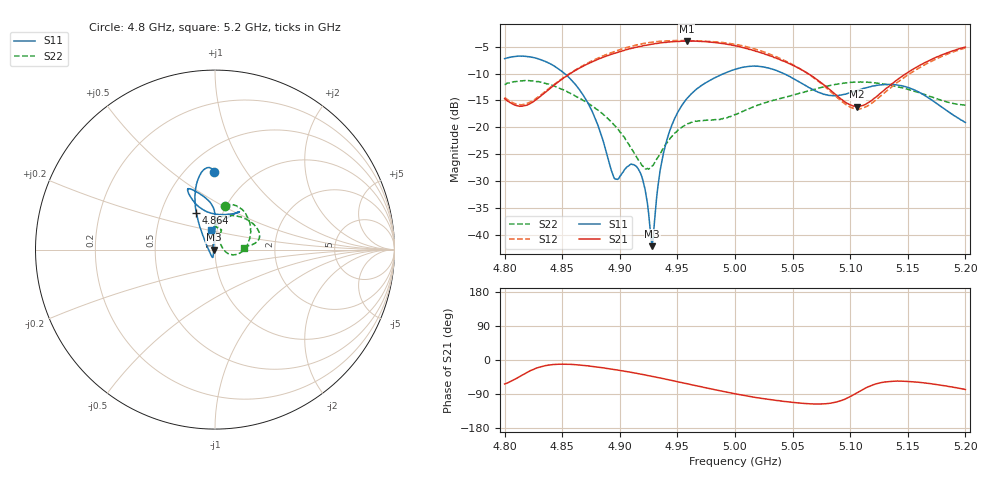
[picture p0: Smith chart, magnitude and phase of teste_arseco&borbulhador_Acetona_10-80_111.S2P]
! Network Analyzer HP8722D
! Hewlett-Packard
! Data name: Linha & Wilkinson
! Saver's name: Rodrigo Anjos
! Comments: Teste da utilização de aquisição
! continua pelo VNA HP8722D
! Time and date: 25/4/2025 16:11
!  Frequency  S11  S21  S12  S22
# HZ  S  MA R 50
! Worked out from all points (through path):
!   401 points, 4.8 GHz to 5.2 GHz, reference 50 ohm
!   highest |S21| = -3.97 dB at 4.958 GHz (marker M1); lowest = -16.1 dB at 5.106 GHz (marker M2)
!   lowest |S11| = -42.0 dB at 4.928 GHz (marker M3), VSWR 1.02, Z = 49.2 + j0.00106 ohm
!   |S11| at or under -10 dB: 4.852 GHz to 4.99 GHz (138.4 MHz wide, 2.81 % of centre); 5.042 GHz to end of sweep
!   |S22| runs from -27.7 to -11.3 dB; largest |S21 - S12| = 1.2
!   S11 on the Smith chart (normalised r, x): 4.8 GHz: 0.68, +0.73; 4.864 GHz: 0.75, +0.33; 5.2 GHz: 0.94, +0.21
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4.8e9  0.4342 90.6  0.1847 -63.4  0.1897 70.1  0.2493 76.6
4.82e9  0.4531 96.9  0.1622 -31.9  0.1679 98.9  0.2724 61.4
4.844e9  0.3656 106.9  0.2516 -11.6  0.255 119.2  0.2395 35.2
4.864e9  0.2315 116.8  0.3508 -13.0  0.3537 120.8  0.1893 11.8
4.867e9  0.2085 118.4  0.3639 -13.9  0.3693 120.6  0.182 8.3
4.88e9  0.1114 129.0  0.4239 -18.3  0.4342 118.1  0.147 -5.5
4.896e9  0.03318 -164.5  0.4883 -25.6  0.5086 113.0  0.1033 -16.1
4.91e9  0.04585 -108.1  0.5406 -32.6  0.5667 106.9  0.06392 -13.8
4.917e9  0.03949 -105.4  0.5627 -36.5  0.5886 103.4  0.0477 -1.2
4.922e9  0.02649 -109.2  0.5773 -39.3  0.6039 100.5  0.04157 17.6
4.928e9  0.007933 179.9  0.5917 -43.2  0.6181 96.9  0.04386 41.8
4.93e9  0.01302 127.1  0.5971 -44.5  0.6206 95.5  0.04684 48.9
4.934e9  0.03366 100.9  0.605 -47.0  0.6289 93.2  0.05472 58.9
4.943e9  0.09093 91.2  0.6202 -52.6  0.6366 87.2  0.07737 69.1
4.958e9  0.184 89.5  0.6328 -62.5  0.6378 77.8  0.107 71.1
5e9  0.3459 109.0  0.5712 -89.2  0.5901 50.6  0.1318 88.1
5.03e9  0.3535 115.0  0.4621 -104.2  0.4788 33.5  0.1736 85.3
5.067e9  0.2264 105.2  0.2993 -115.7  0.2961 23.6  0.2226 56.9
5.106e9  0.2199 64.6  0.1564 -86.3  0.1483 56.5  0.2627 24.7
5.134e9  0.2506 57.2  0.2426 -56.7  0.2285 88.8  0.2473 12.3
5.168e9  0.1882 69.4  0.4149 -61.9  0.3987 85.0  0.1956 6.8
5.2e9  0.1113 100.9  0.5565 -77.9  0.5448 70.0  0.1611 3.6
